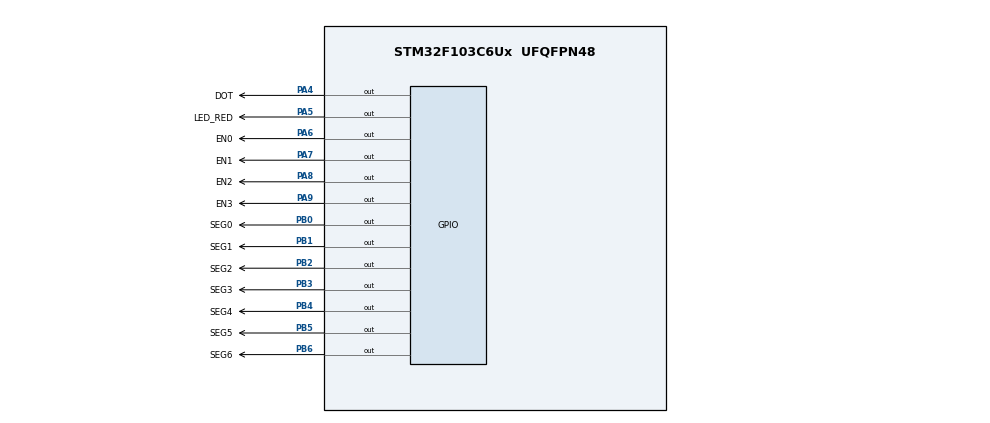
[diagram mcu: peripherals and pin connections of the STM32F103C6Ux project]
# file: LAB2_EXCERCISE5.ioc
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Mcu.Family=STM32F1
Mcu.Name=STM32F103C6Ux
Mcu.Package=UFQFPN48
NVIC.PriorityGroup=NVIC_PRIORITYGROUP_4
NVIC.TIM2_IRQn=true\:0\:0\:false\:false\:true\:true\:true
PA4.GPIO_Label=DOT
PA4.Signal=GPIO_Output
PA5.GPIO_Label=LED_RED
PA5.Signal=GPIO_Output
PA6.GPIO_Label=EN0
PA6.Signal=GPIO_Output
PA7.GPIO_Label=EN1
PA7.Signal=GPIO_Output
PA8.GPIO_Label=EN2
PA8.Signal=GPIO_Output
PA9.GPIO_Label=EN3
PA9.Signal=GPIO_Output
PB0.GPIO_Label=SEG0
PB0.Signal=GPIO_Output
PB1.GPIO_Label=SEG1
PB1.Signal=GPIO_Output
PB2.GPIO_Label=SEG2
PB2.Signal=GPIO_Output
PB3.GPIO_Label=SEG3
PB3.Signal=GPIO_Output
PB4.GPIO_Label=SEG4
PB4.Signal=GPIO_Output
PB5.GPIO_Label=SEG5
PB5.Signal=GPIO_Output
PB6.GPIO_Label=SEG6
PB6.Signal=GPIO_Output
ProjectManager.HeapSize=0x200
ProjectManager.StackSize=0x400
ProjectManager.TargetToolchain=STM32CubeIDE
RCC.APB1Freq_Value=8000000
RCC.APB2Freq_Value=8000000
TIM2.Period=9
TIM2.Prescaler=7999
VP_SYS_VS_ND.Mode=No_Debug
VP_TIM2_VS_ClockSourceINT.Mode=Internal
board=custom

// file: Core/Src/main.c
/* USER CODE BEGIN Header */
/**
  ******************************************************************************
  * @file           : main.c
  * @brief          : Main program body
  ******************************************************************************
  * @attention
  *
  * <h2><center>&copy; Copyright (c) 2025 STMicroelectronics.
  * All rights reserved.</center></h2>
  *
  * This software component is licensed by ST under BSD 3-Clause license,
  * the "License"; You may not use this file except in compliance with the
  * License. You may obtain a copy of the License at:
  *                        opensource.org/licenses/BSD-3-Clause
  *
  ******************************************************************************
  */
/* USER CODE END Header */
#include "main.h"

TIM_HandleTypeDef htim2;

/* USER CODE BEGIN PV */
int led_buffer[4] = {1,2,3,4};
void display7SEG(int num) {
    switch (num) {
        case 0:
            HAL_GPIO_WritePin(GPIOB, SEG0_Pin, RESET);
            HAL_GPIO_WritePin(GPIOB, SEG1_Pin, RESET);
            HAL_GPIO_WritePin(GPIOB, SEG2_Pin, RESET);
            HAL_GPIO_WritePin(GPIOB, SEG3_Pin, RESET);
            HAL_GPIO_WritePin(GPIOB, SEG4_Pin, RESET);
            HAL_GPIO_WritePin(GPIOB, SEG5_Pin, RESET);
            HAL_GPIO_WritePin(GPIOB, SEG6_Pin, SET);  // g = off
            break;

        case 1:
            HAL_GPIO_WritePin(GPIOB, SEG0_Pin, SET);
            HAL_GPIO_WritePin(GPIOB, SEG1_Pin, RESET);
            HAL_GPIO_WritePin(GPIOB, SEG2_Pin, RESET);
            HAL_GPIO_WritePin(GPIOB, SEG3_Pin, SET);
            HAL_GPIO_WritePin(GPIOB, SEG4_Pin, SET);
            HAL_GPIO_WritePin(GPIOB, SEG5_Pin, SET);
            HAL_GPIO_WritePin(GPIOB, SEG6_Pin, SET);
            break;

        case 2:
            HAL_GPIO_WritePin(GPIOB, SEG0_Pin, RESET);
            HAL_GPIO_WritePin(GPIOB, SEG1_Pin, RESET);
            HAL_GPIO_WritePin(GPIOB, SEG2_Pin, SET);
            HAL_GPIO_WritePin(GPIOB, SEG3_Pin, RESET);
            HAL_GPIO_WritePin(GPIOB, SEG4_Pin, RESET);
            HAL_GPIO_WritePin(GPIOB, SEG5_Pin, SET);
            HAL_GPIO_WritePin(GPIOB, SEG6_Pin, RESET);
            break;

        case 3:
            HAL_GPIO_WritePin(GPIOB, SEG0_Pin, RESET);
            HAL_GPIO_WritePin(GPIOB, SEG1_Pin, RESET);
            HAL_GPIO_WritePin(GPIOB, SEG2_Pin, RESET);
            HAL_GPIO_WritePin(GPIOB, SEG3_Pin, RESET);
            HAL_GPIO_WritePin(GPIOB, SEG4_Pin, SET);
            HAL_GPIO_WritePin(GPIOB, SEG5_Pin, SET);
            HAL_GPIO_WritePin(GPIOB, SEG6_Pin, RESET);
            break;

        case 4:
            HAL_GPIO_WritePin(GPIOB, SEG0_Pin, SET);
            HAL_GPIO_WritePin(GPIOB, SEG1_Pin, RESET);
            HAL_GPIO_WritePin(GPIOB, SEG2_Pin, RESET);
            HAL_GPIO_WritePin(GPIOB, SEG3_Pin, SET);
            HAL_GPIO_WritePin(GPIOB, SEG4_Pin, SET);
            HAL_GPIO_WritePin(GPIOB, SEG5_Pin, RESET);
            HAL_GPIO_WritePin(GPIOB, SEG6_Pin, RESET);
            break;

        case 5:
            HAL_GPIO_WritePin(GPIOB, SEG0_Pin, RESET);
            HAL_GPIO_WritePin(GPIOB, SEG1_Pin, SET);
            HAL_GPIO_WritePin(GPIOB, SEG2_Pin, RESET);
            HAL_GPIO_WritePin(GPIOB, SEG3_Pin, RESET);
            HAL_GPIO_WritePin(GPIOB, SEG4_Pin, SET);
            HAL_GPIO_WritePin(GPIOB, SEG5_Pin, RESET);
            HAL_GPIO_WritePin(GPIOB, SEG6_Pin, RESET);
            break;

        case 6:
            HAL_GPIO_WritePin(GPIOB, SEG0_Pin, RESET);
            HAL_GPIO_WritePin(GPIOB, SEG1_Pin, SET);
            HAL_GPIO_WritePin(GPIOB, SEG2_Pin, RESET);
            HAL_GPIO_WritePin(GPIOB, SEG3_Pin, RESET);
            HAL_GPIO_WritePin(GPIOB, SEG4_Pin, RESET);
            HAL_GPIO_WritePin(GPIOB, SEG5_Pin, RESET);
            HAL_GPIO_WritePin(GPIOB, SEG6_Pin, RESET);
            break;

        case 7:
            HAL_GPIO_WritePin(GPIOB, SEG0_Pin, RESET);
            HAL_GPIO_WritePin(GPIOB, SEG1_Pin, RESET);
            HAL_GPIO_WritePin(GPIOB, SEG2_Pin, RESET);
            HAL_GPIO_WritePin(GPIOB, SEG3_Pin, SET);
            HAL_GPIO_WritePin(GPIOB, SEG4_Pin, SET);
            HAL_GPIO_WritePin(GPIOB, SEG5_Pin, SET);
            HAL_GPIO_WritePin(GPIOB, SEG6_Pin, SET);
            break;

        case 8:
            HAL_GPIO_WritePin(GPIOB, SEG0_Pin, RESET);
            HAL_GPIO_WritePin(GPIOB, SEG1_Pin, RESET);
            HAL_GPIO_WritePin(GPIOB, SEG2_Pin, RESET);
            HAL_GPIO_WritePin(GPIOB, SEG3_Pin, RESET);
            HAL_GPIO_WritePin(GPIOB, SEG4_Pin, RESET);
            HAL_GPIO_WritePin(GPIOB, SEG5_Pin, RESET);
            HAL_GPIO_WritePin(GPIOB, SEG6_Pin, RESET);
            break;

        case 9:
            HAL_GPIO_WritePin(GPIOB, SEG0_Pin, RESET);
            HAL_GPIO_WritePin(GPIOB, SEG1_Pin, RESET);
            HAL_GPIO_WritePin(GPIOB, SEG2_Pin, RESET);
            HAL_GPIO_WritePin(GPIOB, SEG3_Pin, RESET);
            HAL_GPIO_WritePin(GPIOB, SEG4_Pin, SET);
            HAL_GPIO_WritePin(GPIOB, SEG5_Pin, RESET);
            HAL_GPIO_WritePin(GPIOB, SEG6_Pin, RESET);
            break;

        default:
            HAL_GPIO_WritePin(GPIOB, SEG0_Pin|SEG1_Pin|SEG2_Pin|
                                       SEG3_Pin|SEG4_Pin|SEG5_Pin|SEG6_Pin, SET);
            break;
    }
}
/* USER CODE END PV */

void SystemClock_Config(void);
static void MX_GPIO_Init(void);
static void MX_TIM2_Init(void);

int main(void)
{

  /* MCU Configuration--------------------------------------------------------*/

  /* Reset of all peripherals, Initializes the Flash interface and the Systick. */
  HAL_Init();

  /* Configure the system clock */
  SystemClock_Config();

  /* Initialize all configured peripherals */
  MX_GPIO_Init();
  MX_TIM2_Init();
  /* USER CODE BEGIN 2 */
  HAL_TIM_Base_Start_IT(&htim2);
  /* USER CODE END 2 */

  /* Infinite loop */
  /* USER CODE BEGIN WHILE */
  int hour = 15, minute = 8, second = 50;

  void updateClockBuffer(){
	  led_buffer[0] = hour/10;
	  led_buffer[1] = hour%10;
	  led_buffer[2] = minute/10;
	  led_buffer[3] = minute%10;
  }

  while (1)
  {
	  second ++;
	  if ( second >= 60) {
		  second = 0;
		  minute ++;
	  }
	  if ( minute >= 60) {
		  minute = 0;
		  hour ++;
	  }
	  if (hour >= 24){
		  hour = 0;
	  }
	  updateClockBuffer();
	  HAL_Delay(100);

    /* USER CODE END WHILE */

  }
}

void SystemClock_Config(void)
{
  RCC_OscInitTypeDef RCC_OscInitStruct = {0};
  RCC_ClkInitTypeDef RCC_ClkInitStruct = {0};

  /** Initializes the RCC Oscillators according to the specified parameters
  * in the RCC_OscInitTypeDef structure.
  */
  RCC_OscInitStruct.OscillatorType = RCC_OSCILLATORTYPE_HSI;
  RCC_OscInitStruct.HSIState = RCC_HSI_ON;
  RCC_OscInitStruct.HSICalibrationValue = RCC_HSICALIBRATION_DEFAULT;
  RCC_OscInitStruct.PLL.PLLState = RCC_PLL_NONE;
  if (HAL_RCC_OscConfig(&RCC_OscInitStruct) != HAL_OK)
  {
    Error_Handler();
  }
  /** Initializes the CPU, AHB and APB buses clocks
  */
  RCC_ClkInitStruct.ClockType = RCC_CLOCKTYPE_HCLK|RCC_CLOCKTYPE_SYSCLK
                              |RCC_CLOCKTYPE_PCLK1|RCC_CLOCKTYPE_PCLK2;
  RCC_ClkInitStruct.SYSCLKSource = RCC_SYSCLKSOURCE_HSI;
  RCC_ClkInitStruct.AHBCLKDivider = RCC_SYSCLK_DIV1;
  RCC_ClkInitStruct.APB1CLKDivider = RCC_HCLK_DIV1;
  RCC_ClkInitStruct.APB2CLKDivider = RCC_HCLK_DIV1;

  if (HAL_RCC_ClockConfig(&RCC_ClkInitStruct, FLASH_LATENCY_0) != HAL_OK)
  {
    Error_Handler();
  }
}

static void MX_TIM2_Init(void)
{

  TIM_ClockConfigTypeDef sClockSourceConfig = {0};
  TIM_MasterConfigTypeDef sMasterConfig = {0};

  htim2.Instance = TIM2;
  htim2.Init.Prescaler = 7999;
  htim2.Init.CounterMode = TIM_COUNTERMODE_UP;
  htim2.Init.Period = 9;
  htim2.Init.ClockDivision = TIM_CLOCKDIVISION_DIV1;
  htim2.Init.AutoReloadPreload = TIM_AUTORELOAD_PRELOAD_DISABLE;
  if (HAL_TIM_Base_Init(&htim2) != HAL_OK)
  {
    Error_Handler();
  }
  sClockSourceConfig.ClockSource = TIM_CLOCKSOURCE_INTERNAL;
  if (HAL_TIM_ConfigClockSource(&htim2, &sClockSourceConfig) != HAL_OK)
  {
    Error_Handler();
  }
  sMasterConfig.MasterOutputTrigger = TIM_TRGO_RESET;
  sMasterConfig.MasterSlaveMode = TIM_MASTERSLAVEMODE_DISABLE;
  if (HAL_TIMEx_MasterConfigSynchronization(&htim2, &sMasterConfig) != HAL_OK)
  {
    Error_Handler();
  }

}

static void MX_GPIO_Init(void)
{
  GPIO_InitTypeDef GPIO_InitStruct = {0};

  /* GPIO Ports Clock Enable */
  __HAL_RCC_GPIOA_CLK_ENABLE();
  __HAL_RCC_GPIOB_CLK_ENABLE();

  /*Configure GPIO pin Output Level */
  HAL_GPIO_WritePin(GPIOA, DOT_Pin|LED_RED_Pin|EN0_Pin|EN1_Pin
                          |EN2_Pin|EN3_Pin, GPIO_PIN_RESET);

  /*Configure GPIO pin Output Level */
  HAL_GPIO_WritePin(GPIOB, SEG0_Pin|SEG1_Pin|SEG2_Pin|SEG3_Pin
                          |SEG4_Pin|SEG5_Pin|SEG6_Pin, GPIO_PIN_RESET);

  /*Configure GPIO pins : DOT_Pin LED_RED_Pin EN0_Pin EN1_Pin
                           EN2_Pin EN3_Pin */
  GPIO_InitStruct.Pin = DOT_Pin|LED_RED_Pin|EN0_Pin|EN1_Pin
                          |EN2_Pin|EN3_Pin;
  GPIO_InitStruct.Mode = GPIO_MODE_OUTPUT_PP;
  GPIO_InitStruct.Pull = GPIO_NOPULL;
  GPIO_InitStruct.Speed = GPIO_SPEED_FREQ_LOW;
  HAL_GPIO_Init(GPIOA, &GPIO_InitStruct);

  /*Configure GPIO pins : SEG0_Pin SEG1_Pin SEG2_Pin SEG3_Pin
                           SEG4_Pin SEG5_Pin SEG6_Pin */
  GPIO_InitStruct.Pin = SEG0_Pin|SEG1_Pin|SEG2_Pin|SEG3_Pin
                          |SEG4_Pin|SEG5_Pin|SEG6_Pin;
  GPIO_InitStruct.Mode = GPIO_MODE_OUTPUT_PP;
  GPIO_InitStruct.Pull = GPIO_NOPULL;
  GPIO_InitStruct.Speed = GPIO_SPEED_FREQ_LOW;
  HAL_GPIO_Init(GPIOB, &GPIO_InitStruct);

}

/* USER CODE BEGIN 4 */
 const int MAX_LED = 4;
  int index_led = 0;

  void update7SEG(int index){
	  if (index >= 4) index = 0;
	  switch (index){
		  case 0:
			  // TO D0
			  HAL_GPIO_WritePin(GPIOA, EN0_Pin, RESET);
			  HAL_GPIO_WritePin(GPIOA, EN1_Pin, SET);
			  HAL_GPIO_WritePin(GPIOA, EN2_Pin, SET);
			  HAL_GPIO_WritePin(GPIOA, EN3_Pin, SET);
			  display7SEG(led_buffer[0]);
			  break;
		  case 1:
			  HAL_GPIO_WritePin(GPIOA, EN0_Pin, SET);
			  HAL_GPIO_WritePin(GPIOA, EN1_Pin, RESET);
			  HAL_GPIO_WritePin(GPIOA, EN2_Pin, SET);
			  HAL_GPIO_WritePin(GPIOA, EN3_Pin, SET);
			  display7SEG(led_buffer[1]);
			  break;
		  case 2:
			  HAL_GPIO_WritePin(GPIOA, EN0_Pin, SET);
			  HAL_GPIO_WritePin(GPIOA, EN1_Pin, SET);
			  HAL_GPIO_WritePin(GPIOA, EN2_Pin, RESET);
			  HAL_GPIO_WritePin(GPIOA, EN3_Pin, SET);
			  display7SEG(led_buffer[2]);
			  break;
		  case 3:
			  HAL_GPIO_WritePin(GPIOA, EN0_Pin, SET);
			  HAL_GPIO_WritePin(GPIOA, EN1_Pin, SET);
			  HAL_GPIO_WritePin(GPIOA, EN2_Pin, SET);
			  HAL_GPIO_WritePin(GPIOA, EN3_Pin, RESET);
			  display7SEG(led_buffer[3]);
			  break;
		  default:
			  HAL_GPIO_WritePin(GPIOA, EN0_Pin, SET);
			  HAL_GPIO_WritePin(GPIOA, EN1_Pin, SET);
			  HAL_GPIO_WritePin(GPIOA, EN2_Pin, SET);
			  HAL_GPIO_WritePin(GPIOA, EN3_Pin, SET);
			  display7SEG(0);
			  break;

	  }
  }
  int counter1 = 10;
  int counter2 = 100;

  void HAL_TIM_PeriodElapsedCallback(TIM_HandleTypeDef * htim){
		if (counter1 > 0){
			counter1--;
			if (counter1 <= 0) {
				counter1 = 10;
				update7SEG(index_led++);
				if (index_led  >= 4) index_led  = 0;
			}
		}
		if (counter2 > 0){
			counter2--;
			if (counter2 <= 0) {
				counter2 = 100;
				HAL_GPIO_TogglePin(GPIOA, LED_RED_Pin);
				HAL_GPIO_TogglePin(GPIOA, DOT_Pin);
			}
		}

  }
/* USER CODE END 4 */

void Error_Handler(void)
{
  __disable_irq();
  while (1)
  {
  }
}

/************************ (C) COPYRIGHT STMicroelectronics *****END OF FILE****/
